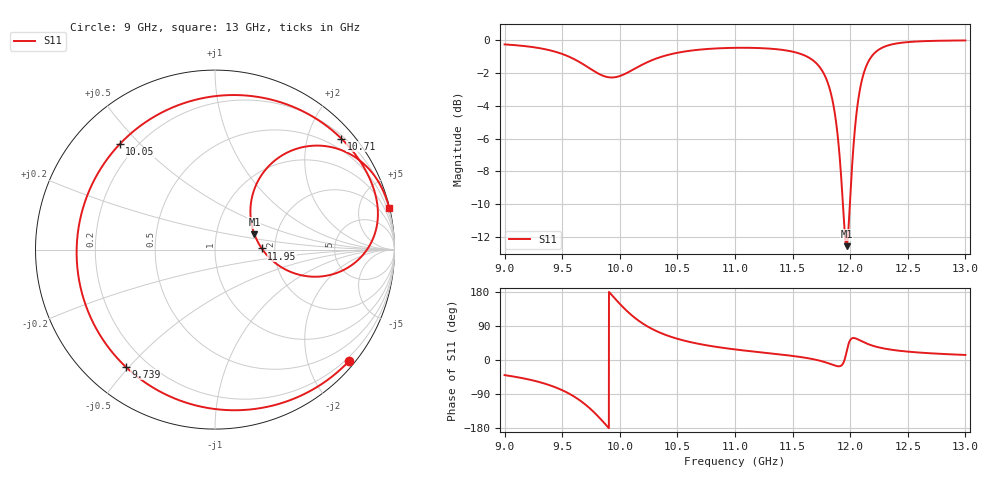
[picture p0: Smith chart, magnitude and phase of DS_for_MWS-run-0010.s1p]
! TOUCHSTONE file generated by CST DESIGN STUDIO
! Date and time: Tue Feb  4 17:48:25 2025
! Project name: C:\Work\MatlabApps\UnitCellOptimizationMatlab\CST\unitcell.cst
! Tree item: Tasks\Sweep1\SPara1\S-Parameters
! Header version: 2024
! Port assignment regex: !\s*Touchstone port\s*([0-9]+)\s*=\s*(CST MWS port|CST DES external port|CST DES block port)\s*(.+)\s* \(\"(.*)\"\)(\s*mode\s*([0-9]+))?.*
! Touchstone port assignment:
! Touchstone port 1 = CST DES external port 1 ("")
# GHz S MA R 50
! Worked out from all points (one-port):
!   4001 points, 9 GHz to 13 GHz, reference 50 ohm
!   lowest |S11| = -12.6 dB at 11.97 GHz (marker M1), VSWR 1.62, Z = 76.7 + j13.7 ohm
!   |S11| at or under -10 dB: 11.94 GHz to 12 GHz (60.4 MHz wide, 0.505 % of centre)
!   S11 on the Smith chart (normalised r, x): 9 GHz: 0.13, -2.75; 9.739 GHz: 0.12, -0.49; 10.05 GHz: 0.14, +0.44; 10.71 GHz: 0.26, +2.63; 11.95 GHz: 1.70, +0.02; 13 GHz: 0.06, +8.56
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9  0.9711 -39.9
9.281  0.9487 -56.6
9.5  0.9081 -79.7
9.631  0.8656 -101.8
9.739  0.8207 -127.4
9.814  0.7913 -149.5
9.876  0.7748 -170.0
9.936  0.77 169.5
10  0.7778 148.1
10.052  0.7918 132.2
10.134  0.8205 110.4
10.226  0.8529 91.1
10.358  0.8897 71.0
10.5  0.9158 56.0
10.707  0.9371 41.3
11  0.9482 27.9
11.5  0.923 10.7
11.698  0.856 0.9
11.819  0.717 -9.5
11.895  0.4976 -16.6
11.952  0.2602 1.5
11.968  0.2356 21.0
12  0.3297 52.5
12.057  0.6082 55.8
12.118  0.794 46.8
12.261  0.9421 32.4
12.5  0.9871 22.1
13  0.9985 13.3
